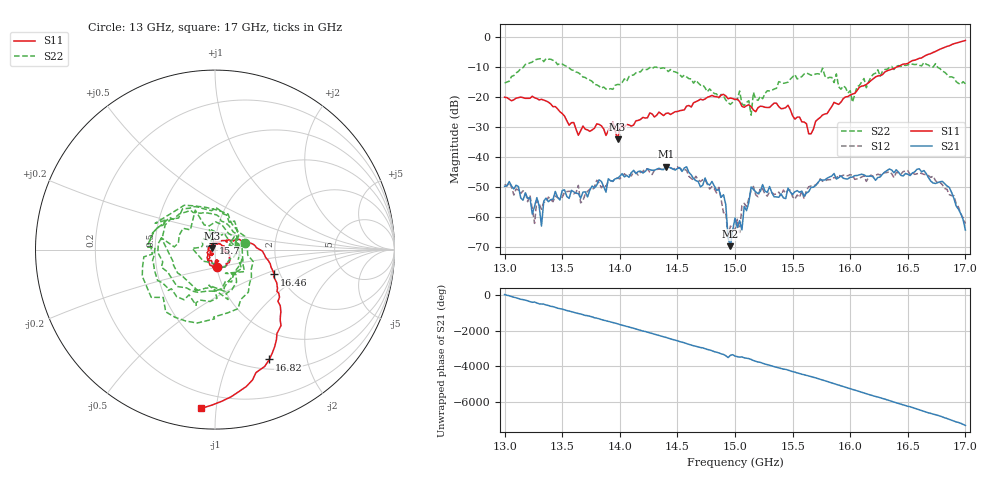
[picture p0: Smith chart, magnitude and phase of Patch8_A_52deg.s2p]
!Keysight Technologies,P9374A,MY57211810,A.19.30.04
!Date: Friday, May 09, 2025 09:22:37
!Correction: S11(Cdelta 2-Port  )
!S21(Cdelta 2-Port  )
!S12(Cdelta 2-Port  )
!S22(Cdelta 2-Port  )
!S2P File: Measurements: S11, S21, S12, S22:
# Hz S  dB  R 50
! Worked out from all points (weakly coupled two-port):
!   201 points, 13 GHz to 17 GHz, reference 50 ohm
!   highest |S21| = -43.14 dB at 14.4 GHz (marker M1); lowest = -69.7 dB at 14.96 GHz (marker M2)
!   lowest |S11| = -34.0 dB at 13.98 GHz (marker M3), VSWR 1.04, Z = 48.2 + j0.723 ohm
!   |S11| at or under -10 dB: start of sweep to 16.4 GHz
!   |S22| runs from -26.0 to -7.1 dB; largest |S21 - S12| = 0.0014
!   S11 on the Smith chart (normalised r, x): 13 GHz: 1.00, -0.20; 15.7 GHz: 0.97, +0.07; 16.46 GHz: 1.86, -0.59; 16.82 GHz: 0.62, -1.42; 17 GHz: 0.11, -0.91
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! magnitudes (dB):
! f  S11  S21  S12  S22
! 13 GHz  -20.0  -49.7  -49.1  -15.3
! 13.22 GHz  -20.3  -53.4  -52.8  -8.5
! 13.26 GHz  -20.1  -56.5  -62.1  -7.5
! 13.28 GHz  -20.4  -53.5  -54.4  -7.3
! 13.32 GHz  -20.7  -63.0  -57.4  -7.1
! 13.36 GHz  -21.2  -53.7  -55.0  -7.1
! 13.68 GHz  -29.6  -51.7  -54.5  -13.2
! 13.98 GHz  -34.0  -47.1  -46.9  -15.7
! 14.34 GHz  -25.0  -43.7  -44.0  -10.4
! 14.4 GHz  -25.4  -43.1  -42.6  -10.5
! 14.9 GHz  -19.0  -52.5  -58.6  -19.6
! 14.96 GHz  -20.3  -69.7  -63.0  -22.4
! 15 GHz  -20.7  -60.4  -64.4  -20.7
! 15.06 GHz  -23.0  -64.3  -56.2  -22.2
! 15.16 GHz  -24.3  -50.8  -49.8  -18.4
! 15.68 GHz  -30.7  -50.1  -49.6  -12.6
! 15.7 GHz  -28.0  -49.5  -49.3  -12.2
! 16.02 GHz  -18.9  -46.7  -46.1  -21.7
! 16.34 GHz  -10.9  -44.0  -44.9  -10.0
! 16.46 GHz  -8.9  -46.3  -44.8  -9.2
! 16.82 GHz  -3.3  -48.9  -50.5  -11.6
! 17 GHz  -1.0  -64.4  -62.2  -15.5
